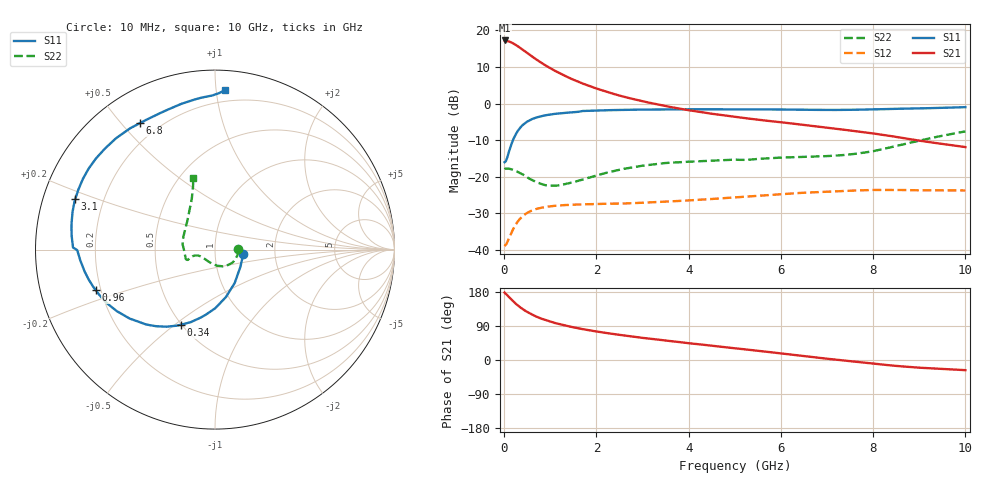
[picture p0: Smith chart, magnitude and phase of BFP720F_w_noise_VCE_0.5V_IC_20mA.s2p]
! Infineon Technologies  Discrete & RF Semiconductors
! BFP720F
! VCE =  0.5 V,  IC =  20 mA
! Common Emitter S-Parameters:  Jan 2016
# GHz  S  MA  R  50
!  f  S11  S21  S12  S22
! GHz  MAG  ANG  MAG  ANG  MAG  ANG  MAG  ANG
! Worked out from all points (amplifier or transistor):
!   233 points, 10 MHz to 10 GHz, reference 50 ohm
!   highest |S21| = 17.3 dB at 20 MHz (marker M1)
!   |S21| within 3 dB of that: start of sweep to 453.5 MHz
!   unconditionally stable (mu >= 1): start of sweep to end of sweep
!   at 200 MHz: K = 3.45, MAG = 17.0 dB, |S12| = -34.2 dB
!   at 1.74 GHz: K = 2.41, MAG = 9.8 dB, |S12| = -27.6 dB
!   at 10 GHz: K = 5.36, MAG = -4.3 dB, |S12| = -23.8 dB
!   lowest NFmin = 0.86 dB at 450 MHz
!   S11 on the Smith chart (normalised r, x): 10 MHz: 1.37, -0.06; 340 MHz: 0.49, -0.53; 960 MHz: 0.18, -0.16; 3.1 GHz: 0.10, +0.17; 6.8 GHz: 0.13, +0.56; 10 GHz: 0.12, +1.06
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0.01  0.1576 -8.3  7.266 177.9  0.0112 3.5  0.1261 0.7
0.02  0.1593 -13.7  7.298 176.3  0.0115 8.0  0.128 -3.1
0.055  0.174 -37.5  7.208 172.6  0.0122 17.4  0.129 -8.2
0.1  0.2159 -59.4  7.096 166.6  0.0141 26.6  0.1288 -14.7
0.15  0.2709 -76.9  6.895 160.2  0.0167 32.9  0.1269 -22.3
0.2  0.3268 -89.8  6.64 154.2  0.0194 35.7  0.1242 -30.1
0.26  0.3873 -101.9  6.295 147.6  0.0226 36.4  0.1197 -38.9
0.34  0.4604 -114.5  5.821 139.8  0.0264 35.4  0.1121 -50.1
0.45  0.538 -127.5  5.186 130.4  0.0305 32.5  0.1034 -64.5
0.6  0.6116 -141.1  4.422 120.0  0.0344 28.3  0.0905 -82.9
0.7  0.6455 -147.9  3.998 114.3  0.0362 25.8  0.0844 -92.3
0.8  0.6727 -153.7  3.634 109.4  0.0375 23.7  0.0799 -103.1
0.96  0.702 -161.2  3.15 102.8  0.039 21.0  0.0758 -117.6
1.28  0.7421 -172.2  2.459 92.1  0.0407 17.3  0.078 -140.1
1.68  0.7863 179.4  1.906 82.0  0.0418 14.8  0.0905 -156.1
2.4  0.8155 167.9  1.34 68.0  0.0428 13.3  0.1204 -163.9
3.1  0.8277 160.2  1.042 57.1  0.0443 14.0  0.1438 -162.2
3.4  0.8301 157.3  0.951 52.8  0.0452 14.2  0.1513 -160.7
5.1  0.8342 141.5  0.646 29.7  0.0526 14.5  0.1698 -166.0
6.8  0.8193 120.8  0.484 6.3  0.0615 9.2  0.189 159.4
8.4  0.8445 97.5  0.358 -14.5  0.0658 0.9  0.2541 124.6
10  0.8932 86.4  0.254 -26.8  0.0648 -3.2  0.416 107.0
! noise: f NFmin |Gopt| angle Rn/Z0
0.45  0.86  0.16  0  0.43
0.9  0.89  0.09  -6  0.15
1.8  0.92  0.07  -52  0.15
2.4  0.94  0.08  -58  0.15
5.5  1.06  0.08  -60  0.14
10  1.24  0.38  -81  0.26
